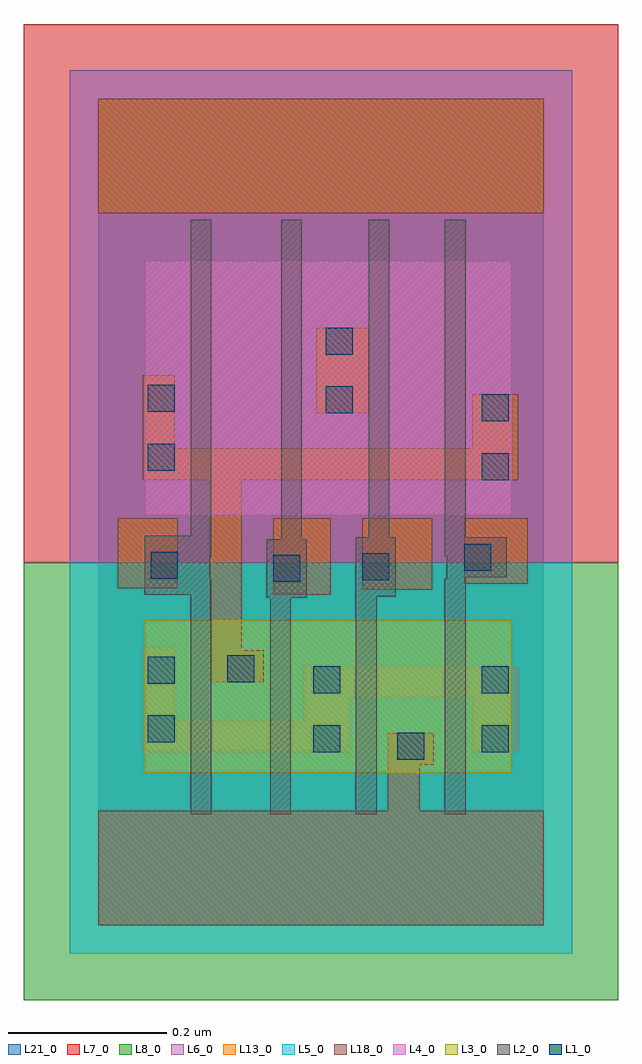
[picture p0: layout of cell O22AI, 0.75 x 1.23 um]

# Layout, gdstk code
import gdstk
lib = gdstk.Library(unit=1e-6, precision=1e-09)
def R(c, l, rs):  # rectangles x0, y0, x1, y1
    for r in rs: c.add(gdstk.rectangle(r[:2], r[2:], *l))
def A(c, l, x, y, w, h, nx, ny, dx, dy):  # array of equal rectangles
    R(c, l, [(x+i*dx, y+j*dy, x+i*dx+w, y+j*dy+h) for i in range(nx) for j in range(ny)])
L1_0 = (1, 0)
L2_0 = (2, 0)
L3_0 = (3, 0)
L4_0 = (4, 0)
L5_0 = (5, 0)
L6_0 = (6, 0)
L7_0 = (7, 0)
L8_0 = (8, 0)
L13_0 = (13, 0)
L18_0 = (18, 0)
L21_0 = (21, 0)

o22ai = lib.new_cell('O22AI')
R(o22ai, L1_0, [(0.376,0.208,0.41,0.242), (0.27,0.218,0.304,0.252), (0.482,0.218,0.516,0.252), (0.062,0.23,0.096,0.264), (0.27,0.292,0.304,0.326), (0.482,0.292,0.516,0.326), (0.062,0.304,0.096,0.338), (0.162,0.306,0.196,0.34), (0.22,0.432,0.254,0.466), (0.332,0.434,0.366,0.468), (0.066,0.436,0.1,0.47), (0.46,0.446,0.494,0.48), (0.482,0.56,0.516,0.594), (0.062,0.572,0.096,0.606), (0.482,0.634,0.516,0.668), (0.286,0.644,0.32,0.678), (0.062,0.646,0.096,0.68), (0.286,0.718,0.32,0.752)])
R(o22ai, L2_0, [(0.116,0.14,0.142,0.436), (0.216,0.14,0.242,0.436), (0.324,0.14,0.35,0.436), (0.436,0.14,0.462,0.436), (0.116,0.412,0.14,0.436), (0.116,0.412,0.14,0.436), (0.116,0.412,0.14,0.44), (0.212,0.412,0.262,0.486), (0.218,0.412,0.242,0.436), (0.326,0.412,0.35,0.436), (0.326,0.412,0.35,0.438), (0.438,0.412,0.462,0.462), (0.324,0.414,0.374,0.488), (0.326,0.414,0.35,0.438), (0.058,0.416,0.14,0.49), (0.438,0.438,0.462,0.462), (0.438,0.438,0.462,0.462), (0.438,0.438,0.514,0.488), (0.232,0.462,0.256,0.486), (0.232,0.462,0.256,0.488), (0.116,0.464,0.14,0.488), (0.116,0.464,0.142,0.888), (0.23,0.464,0.256,0.888), (0.232,0.464,0.256,0.488), (0.34,0.464,0.366,0.888), (0.342,0.464,0.366,0.488), (0.436,0.464,0.462,0.888), (0.438,0.464,0.462,0.488)])
R(o22ai, L3_0, [(0.058,0.192,0.1,0.384), (0.058,0.192,0.2,0.384), (0.158,0.192,0.308,0.384), (0.158,0.192,0.2,0.356), (0.266,0.192,0.414,0.384), (0.266,0.192,0.308,0.342), (0.372,0.192,0.414,0.384), (0.372,0.192,0.52,0.384), (0.478,0.192,0.52,0.384)])
R(o22ai, L4_0, [(0.058,0.516,0.1,0.836), (0.058,0.516,0.186,0.836), (0.186,0.516,0.324,0.836), (0.282,0.516,0.41,0.836), (0.392,0.516,0.52,0.836), (0.478,0.516,0.52,0.836), (0.282,0.628,0.324,0.836)])
R(o22ai, L5_0, [(-0.036,-0.036,0.596,0.456)])
R(o22ai, L6_0, [(-0.036,0.456,0.596,1.076)])
R(o22ai, L7_0, [(-0.094,0.456,0.654,1.134)])
R(o22ai, L8_0, [(-0.094,-0.094,0.654,0.456)])
R(o22ai, L13_0, [(0,0,0.56,0.144), (0.364,0.104,0.404,0.144), (0.364,0.104,0.404,0.144), (0.364,0.104,0.404,0.242), (0.364,0.202,0.422,0.242), (0.056,0.218,0.096,0.258), (0.056,0.218,0.096,0.258), (0.056,0.218,0.188,0.258), (0.056,0.218,0.096,0.35), (0.148,0.218,0.188,0.258), (0.148,0.218,0.188,0.258), (0.148,0.218,0.188,0.258), (0.148,0.218,0.298,0.258), (0.258,0.218,0.316,0.326), (0.47,0.218,0.528,0.326), (0.276,0.286,0.316,0.326), (0.276,0.286,0.316,0.326), (0.276,0.286,0.316,0.326), (0.276,0.286,0.316,0.326), (0.276,0.286,0.404,0.326), (0.364,0.286,0.404,0.326), (0.364,0.286,0.51,0.326), (0.47,0.286,0.51,0.326), (0.47,0.286,0.51,0.326), (0.14,0.306,0.18,0.346), (0.14,0.306,0.18,0.346), (0.14,0.306,0.18,0.568), (0.14,0.306,0.208,0.346), (0.22,0.416,0.292,0.512), (0.332,0.422,0.42,0.512), (0.024,0.424,0.1,0.512), (0.46,0.43,0.54,0.512), (0.14,0.528,0.18,0.6), (0.056,0.56,0.096,0.6), (0.056,0.56,0.096,0.6), (0.056,0.56,0.18,0.6), (0.056,0.56,0.096,0.692), (0.14,0.56,0.18,0.6), (0.14,0.56,0.18,0.6), (0.14,0.56,0.214,0.6), (0.174,0.56,0.214,0.6), (0.174,0.56,0.316,0.6), (0.276,0.56,0.316,0.6), (0.276,0.56,0.41,0.6), (0.37,0.56,0.41,0.6), (0.37,0.56,0.41,0.6), (0.37,0.56,0.41,0.6), (0.37,0.56,0.51,0.6), (0.47,0.56,0.51,0.6), (0.47,0.56,0.51,0.6), (0.47,0.56,0.528,0.668), (0.274,0.644,0.34,0.752), (0,0.896,0.56,1.04)])
A(o22ai, L18_0, 0.06, 0.46, 0.04, 0.04, 3, 1, 0.16, 0)
R(o22ai, L18_0, [(0,0,0.56,0.144), (0.364,0.104,0.404,0.144), (0.364,0.104,0.404,0.144), (0.364,0.104,0.404,0.242), (0.364,0.202,0.422,0.242), (0.14,0.306,0.18,0.346), (0.14,0.306,0.18,0.346), (0.14,0.306,0.208,0.346), (0.14,0.306,0.18,0.568), (0.22,0.416,0.292,0.512), (0.332,0.422,0.42,0.512), (0.024,0.424,0.1,0.512), (0.46,0.43,0.54,0.512), (0.46,0.46,0.5,0.5), (0.14,0.528,0.18,0.6), (0.14,0.54,0.18,0.58), (0.056,0.56,0.096,0.692), (0.056,0.56,0.096,0.6), (0.056,0.56,0.096,0.6), (0.056,0.56,0.18,0.6), (0.14,0.56,0.18,0.6), (0.14,0.56,0.18,0.6), (0.14,0.56,0.214,0.6), (0.174,0.56,0.214,0.6), (0.174,0.56,0.316,0.6), (0.276,0.56,0.316,0.6), (0.276,0.56,0.41,0.6), (0.37,0.56,0.41,0.6), (0.37,0.56,0.41,0.6), (0.37,0.56,0.41,0.6), (0.37,0.56,0.51,0.6), (0.47,0.56,0.51,0.6), (0.47,0.56,0.51,0.6), (0.47,0.56,0.528,0.668), (0.274,0.644,0.34,0.752), (0.3,0.7,0.34,0.74), (0,0.896,0.56,1.04)])
R(o22ai, L21_0, [(0,0,0.56,1.04)])

lib.write_gds('O22AI.gds')
